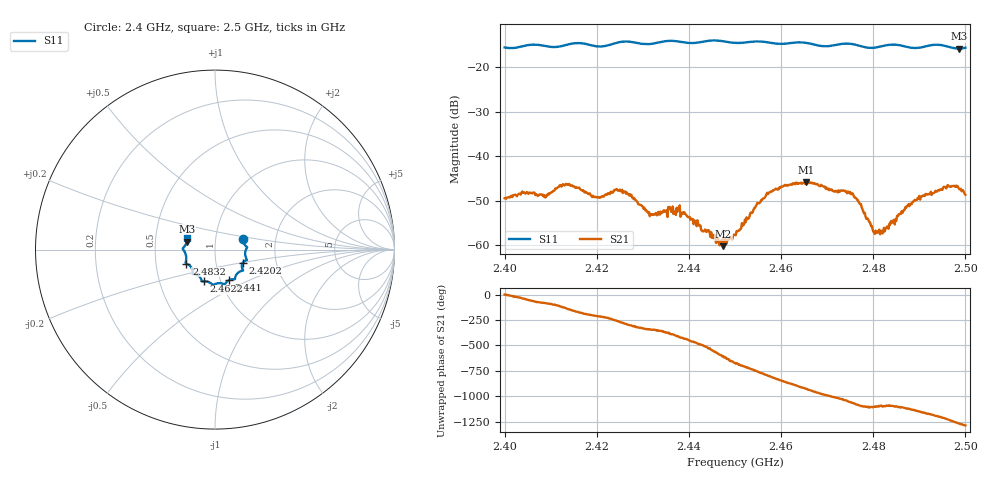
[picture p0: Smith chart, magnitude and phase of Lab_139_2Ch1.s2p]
# Hz S RI R 50
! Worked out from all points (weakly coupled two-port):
!   601 points, 2.4 GHz to 2.5 GHz, reference 50 ohm
!   highest |S21| = -45.73 dB at 2.4655 GHz (marker M1); lowest = -60.2 dB at 2.4475 GHz (marker M2)
!   lowest |S11| = -15.8 dB at 2.4987 GHz (marker M3), VSWR 1.39, Z = 36.4 + j3.37 ohm
!   |S11| at or under -10 dB: start of sweep to end of sweep
!   S12 and S22 are empty: the file has one direction only
!   S11 on the Smith chart (normalised r, x): 2.4 GHz: 1.36, +0.17; 2.4202 GHz: 1.35, -0.20; 2.441 GHz: 1.09, -0.39; 2.4622 GHz: 0.83, -0.30; 2.4832 GHz: 0.72, -0.12; 2.5 GHz: 0.73, +0.10
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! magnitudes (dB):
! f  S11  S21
! 2.4 GHz  -15.5  -49.4
! 2.409 GHz  -15.2  -49.1
! 2.4132 GHz  -15.0  -46.3
! 2.4167 GHz  -14.6  -47.6
! 2.4202 GHz  -15.3  -49.2
! 2.425 GHz  -14.3  -47.5
! 2.4333 GHz  -14.4  -52.5
! 2.4375 GHz  -14.2  -52.4
! 2.441 GHz  -14.5  -55.2
! 2.4475 GHz  -14.2  -60.2
! 2.45 GHz  -14.5  -57.6
! 2.4572 GHz  -14.4  -48.5
! 2.4622 GHz  -14.5  -46.3
! 2.4655 GHz  -14.5  -45.7
! 2.4667 GHz  -14.8  -45.9
! 2.4752 GHz  -14.7  -48.5
! 2.4805 GHz  -15.6  -56.7
! 2.4832 GHz  -15.0  -55.9
! 2.4833 GHz  -15.0  -56.3
! 2.4895 GHz  -15.6  -49.8
! 2.4987 GHz  -15.8  -47.4
! 2.5 GHz  -15.6  -48.6
